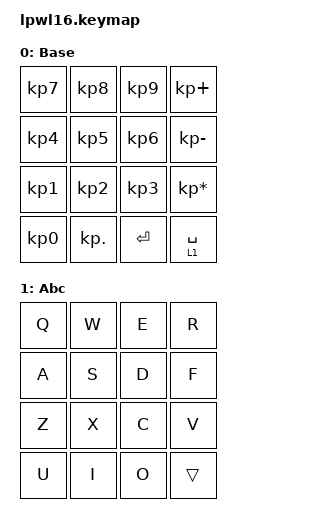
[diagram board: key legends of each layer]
#include <behaviors.dtsi>
#include <dt-bindings/zmk/keys.h>
#include <dt-bindings/zmk/bt.h>

#define Base 0
#define Abc  1


/ {
    keymap {
        compatible = "zmk,keymap";
        Base { // Layer 0
            display-name = "Base";

            bindings = <
                &kp KP_N7   &kp KP_N8   &kp KP_N9   &kp KP_PLUS
                &kp KP_N4   &kp KP_N5   &kp KP_N6   &kp KP_MINUS
                &kp KP_N1   &kp KP_N2   &kp KP_N3   &kp KP_MULTIPLY
                &kp KP_N0   &kp KP_DOT  &kp ENTER   &lt 1 SPACE
            >;
        };

        abc { // Layer 1
            display-name = "Abc";

                bindings = <
                &kp Q       &kp W       &kp E       &kp R
                &kp A       &kp S       &kp D       &kp F
                &kp Z       &kp X       &kp C       &kp V
                &kp U       &kp I       &kp O       &trans
            >;
        };

    };
};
